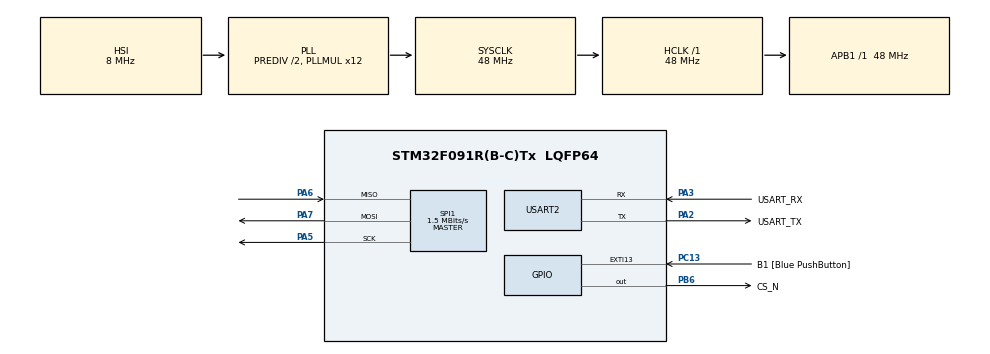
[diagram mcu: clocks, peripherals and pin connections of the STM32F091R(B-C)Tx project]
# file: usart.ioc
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Mcu.Family=STM32F0
Mcu.Name=STM32F091R(B-C)Tx
Mcu.Package=LQFP64
NVIC.SPI1_IRQn=true\:0\:0\:false\:false\:true\:true\:true\:true
PA13.GPIO_Label=TMS
PA13.Mode=Serial_Wire
PA13.Signal=SYS_SWDIO
PA14.GPIO_Label=TCK
PA14.Mode=Serial_Wire
PA14.Signal=SYS_SWCLK
PA2.GPIO_Label=USART_TX
PA2.GPIO_Mode=GPIO_MODE_AF_PP
PA2.GPIO_PuPd=GPIO_NOPULL
PA2.GPIO_Speed=GPIO_SPEED_FREQ_LOW
PA2.Mode=Asynchronous
PA2.Signal=USART2_TX
PA3.GPIO_Label=USART_RX
PA3.GPIO_Mode=GPIO_MODE_AF_PP
PA3.GPIO_PuPd=GPIO_NOPULL
PA3.GPIO_Speed=GPIO_SPEED_FREQ_LOW
PA3.Mode=Asynchronous
PA3.Signal=USART2_RX
PA5.Mode=Full_Duplex_Master
PA5.Signal=SPI1_SCK
PA6.Mode=Full_Duplex_Master
PA6.Signal=SPI1_MISO
PA7.Mode=Full_Duplex_Master
PA7.Signal=SPI1_MOSI
PB6.GPIO_Label=CS_N
PB6.GPIO_Speed=GPIO_SPEED_FREQ_HIGH
PB6.PinState=GPIO_PIN_SET
PB6.Signal=GPIO_Output
PC13.GPIO_Label=B1 [Blue PushButton]
PC13.GPIO_ModeDefaultEXTI=GPIO_MODE_IT_FALLING
PC13.Signal=GPXTI13
PC14OSC32_IN.Mode=LSE-External-Oscillator
PC14OSC32_IN.Signal=RCC_OSC32_IN
PC15OSC32_OUT.Mode=LSE-External-Oscillator
PC15OSC32_OUT.Signal=RCC_OSC32_OUT
PF0-OSC_IN.Mode=HSE-External-Clock-Source
PF0-OSC_IN.Signal=RCC_OSC_IN
PF1-OSC_OUT.Signal=RCC_OSC_OUT
ProjectManager.HeapSize=0x200
ProjectManager.StackSize=0x400
ProjectManager.TargetToolchain=MDK-ARM V5.32
RCC.AHBFreq_Value=48000000
RCC.APB1Freq_Value=48000000
RCC.APB1TimFreq_Value=48000000
RCC.FLatency-AdvancedSettings=FLASH_LATENCY_1
RCC.HCLKFreq_Value=48000000
RCC.PLLDivider=RCC_PREDIV_DIV2
RCC.PLLMUL=RCC_PLL_MUL12
RCC.PREFETCH_ENABLE-AdvancedSettings=1
RCC.SYSCLKFreq_VALUE=48000000
RCC.SYSCLKSource=RCC_SYSCLKSOURCE_PLLCLK
SPI1.BaudRatePrescaler=SPI_BAUDRATEPRESCALER_32
SPI1.CalculateBaudRate=1.5 MBits/s
SPI1.DataSize=SPI_DATASIZE_8BIT
SPI1.Direction=SPI_DIRECTION_2LINES
SPI1.Mode=SPI_MODE_MASTER
SPI1.NSSPMode=SPI_NSS_PULSE_DISABLE
SPI1.VirtualType=VM_MASTER
USART2.VirtualMode=VM_ASYNC
USART2.VirtualMode-Asynchronous=VM_ASYNC
board=NUCLEO-F091RC

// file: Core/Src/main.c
/* USER CODE BEGIN Header */
/**
  ******************************************************************************
  * @file           : main.c
  * @brief          : Main program body
  ******************************************************************************
  * @attention
  *
  * Copyright (c) 2023 STMicroelectronics.
  * All rights reserved.
  *
  * This software is licensed under terms that can be found in the LICENSE file
  * in the root directory of this software component.
  * If no LICENSE file comes with this software, it is provided AS-IS.
  *
  ******************************************************************************
  */
/* USER CODE END Header */
#include "main.h"

/* USER CODE BEGIN Includes */
#include <stdio.h>
#include <string.h>
/* USER CODE END Includes */

SPI_HandleTypeDef hspi1;

UART_HandleTypeDef huart2;

void SystemClock_Config(void);
static void MX_GPIO_Init(void);
static void MX_USART2_UART_Init(void);
static void MX_SPI1_Init(void);

int main(void)
{

  /* MCU Configuration--------------------------------------------------------*/

  /* Reset of all peripherals, Initializes the Flash interface and the Systick. */
  HAL_Init();

  /* Configure the system clock */
  SystemClock_Config();

  /* Initialize all configured peripherals */
  MX_GPIO_Init();
  MX_USART2_UART_Init();
  MX_SPI1_Init();

  /* Infinite loop */
  while (1)
  {

    /* USER CODE BEGIN 3 */
		printf("Hello World from SPI Master\n");
		HAL_Delay(1000);

		while(1)
		{
			HAL_GPIO_WritePin(CS_N_GPIO_Port,CS_N_Pin,GPIO_PIN_RESET);
			HAL_Delay(1);
			uint8_t txdata[]={0x00,0x01,0x02,0x03,0x04,0x05,0x06,0x07,0x08,0x09,0x0A,0x0B,0x0C,0x0D,0x0E,0x0F,
			                  0xFF,0xFE,0xFD,0xFC,0xFB,0xFA,0xF9,0xF8,0xF7,0xF6,0xF5,0xF4,0xF3,0xF2,0xF1,0xF0};
			uint8_t rxdata[sizeof(txdata)]={0};
			HAL_SPI_TransmitReceive(&hspi1,txdata,rxdata,sizeof(txdata),HAL_MAX_DELAY);
			HAL_Delay(1);
			HAL_GPIO_WritePin(CS_N_GPIO_Port,CS_N_Pin,GPIO_PIN_SET);
			printf(".");
			fflush(stdout);
			HAL_Delay(1000);
		}
  }
  /* USER CODE END 3 */
}

void SystemClock_Config(void)
{
  RCC_OscInitTypeDef RCC_OscInitStruct = {0};
  RCC_ClkInitTypeDef RCC_ClkInitStruct = {0};
  RCC_PeriphCLKInitTypeDef PeriphClkInit = {0};

  /** Initializes the RCC Oscillators according to the specified parameters
  * in the RCC_OscInitTypeDef structure.
  */
  RCC_OscInitStruct.OscillatorType = RCC_OSCILLATORTYPE_HSI;
  RCC_OscInitStruct.HSIState = RCC_HSI_ON;
  RCC_OscInitStruct.HSICalibrationValue = RCC_HSICALIBRATION_DEFAULT;
  RCC_OscInitStruct.PLL.PLLState = RCC_PLL_ON;
  RCC_OscInitStruct.PLL.PLLSource = RCC_PLLSOURCE_HSI;
  RCC_OscInitStruct.PLL.PLLMUL = RCC_PLL_MUL12;
  RCC_OscInitStruct.PLL.PREDIV = RCC_PREDIV_DIV2;
  if (HAL_RCC_OscConfig(&RCC_OscInitStruct) != HAL_OK)
  {
    Error_Handler();
  }

  /** Initializes the CPU, AHB and APB buses clocks
  */
  RCC_ClkInitStruct.ClockType = RCC_CLOCKTYPE_HCLK|RCC_CLOCKTYPE_SYSCLK
                              |RCC_CLOCKTYPE_PCLK1;
  RCC_ClkInitStruct.SYSCLKSource = RCC_SYSCLKSOURCE_PLLCLK;
  RCC_ClkInitStruct.AHBCLKDivider = RCC_SYSCLK_DIV1;
  RCC_ClkInitStruct.APB1CLKDivider = RCC_HCLK_DIV1;

  if (HAL_RCC_ClockConfig(&RCC_ClkInitStruct, FLASH_LATENCY_1) != HAL_OK)
  {
    Error_Handler();
  }
  PeriphClkInit.PeriphClockSelection = RCC_PERIPHCLK_USART2;
  PeriphClkInit.Usart2ClockSelection = RCC_USART2CLKSOURCE_PCLK1;
  if (HAL_RCCEx_PeriphCLKConfig(&PeriphClkInit) != HAL_OK)
  {
    Error_Handler();
  }
}

static void MX_SPI1_Init(void)
{

  /* SPI1 parameter configuration*/
  hspi1.Instance = SPI1;
  hspi1.Init.Mode = SPI_MODE_MASTER;
  hspi1.Init.Direction = SPI_DIRECTION_2LINES;
  hspi1.Init.DataSize = SPI_DATASIZE_8BIT;
  hspi1.Init.CLKPolarity = SPI_POLARITY_LOW;
  hspi1.Init.CLKPhase = SPI_PHASE_1EDGE;
  hspi1.Init.NSS = SPI_NSS_SOFT;
  hspi1.Init.BaudRatePrescaler = SPI_BAUDRATEPRESCALER_32;
  hspi1.Init.FirstBit = SPI_FIRSTBIT_MSB;
  hspi1.Init.TIMode = SPI_TIMODE_DISABLE;
  hspi1.Init.CRCCalculation = SPI_CRCCALCULATION_DISABLE;
  hspi1.Init.CRCPolynomial = 7;
  hspi1.Init.CRCLength = SPI_CRC_LENGTH_DATASIZE;
  hspi1.Init.NSSPMode = SPI_NSS_PULSE_DISABLE;
  if (HAL_SPI_Init(&hspi1) != HAL_OK)
  {
    Error_Handler();
  }

}

static void MX_USART2_UART_Init(void)
{

  huart2.Instance = USART2;
  huart2.Init.BaudRate = 115200;
  huart2.Init.WordLength = UART_WORDLENGTH_8B;
  huart2.Init.StopBits = UART_STOPBITS_1;
  huart2.Init.Parity = UART_PARITY_NONE;
  huart2.Init.Mode = UART_MODE_TX_RX;
  huart2.Init.HwFlowCtl = UART_HWCONTROL_NONE;
  huart2.Init.OverSampling = UART_OVERSAMPLING_16;
  huart2.Init.OneBitSampling = UART_ONE_BIT_SAMPLE_DISABLE;
  huart2.AdvancedInit.AdvFeatureInit = UART_ADVFEATURE_NO_INIT;
  if (HAL_UART_Init(&huart2) != HAL_OK)
  {
    Error_Handler();
  }

}

static void MX_GPIO_Init(void)
{
  GPIO_InitTypeDef GPIO_InitStruct = {0};

  /* GPIO Ports Clock Enable */
  __HAL_RCC_GPIOC_CLK_ENABLE();
  __HAL_RCC_GPIOF_CLK_ENABLE();
  __HAL_RCC_GPIOA_CLK_ENABLE();
  __HAL_RCC_GPIOB_CLK_ENABLE();

  /*Configure GPIO pin Output Level */
  HAL_GPIO_WritePin(CS_N_GPIO_Port, CS_N_Pin, GPIO_PIN_SET);

  /*Configure GPIO pin : B1_Pin */
  GPIO_InitStruct.Pin = B1_Pin;
  GPIO_InitStruct.Mode = GPIO_MODE_IT_FALLING;
  GPIO_InitStruct.Pull = GPIO_NOPULL;
  HAL_GPIO_Init(B1_GPIO_Port, &GPIO_InitStruct);

  /*Configure GPIO pin : CS_N_Pin */
  GPIO_InitStruct.Pin = CS_N_Pin;
  GPIO_InitStruct.Mode = GPIO_MODE_OUTPUT_PP;
  GPIO_InitStruct.Pull = GPIO_NOPULL;
  GPIO_InitStruct.Speed = GPIO_SPEED_FREQ_HIGH;
  HAL_GPIO_Init(CS_N_GPIO_Port, &GPIO_InitStruct);

}

void Error_Handler(void)
{
  __disable_irq();
  while (1)
  {
  }
}
